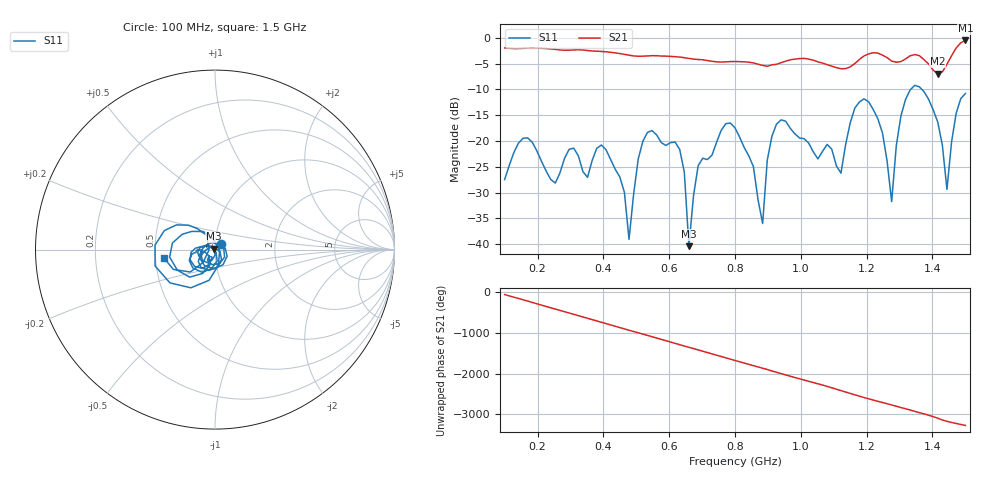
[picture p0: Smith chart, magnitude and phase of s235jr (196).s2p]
! NanoVNA-App
! Date: 2025-09-25 15:05:41
! Start: 100MHz Stop: 1,5GHz Points: 101
! S-Parameter data: F S11 S21 S12 S22
# Hz S RI R 50
!  Frequency  S11_Real  S11_Imag  S21_Real  S21_Imag  S12_Real  S12_Imag  S22_Real  S22_Imag
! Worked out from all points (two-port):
!   101 points, 100 MHz to 1.5 GHz, reference 50 ohm
!   highest |S21| = -0.52 dB at 1.5 GHz (marker M1); lowest = -7.0 dB at 1.416 GHz (marker M2)
!   |S21| within 3 dB of the highest: start of sweep to 493.1 MHz; 1.192 GHz to 1.253 GHz (60.54 MHz wide, 4.95 % of centre) (the widest 2 of 5)
!   lowest |S11| = -40.4 dB at 660 MHz (marker M3), VSWR 1.02, Z = 49.2 + j0.545 ohm
!   |S11| at or under -10 dB: start of sweep to 1.334 GHz; 1.368 GHz to end of sweep
!   S12 and S22 are empty: the file has one direction only
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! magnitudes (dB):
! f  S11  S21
! 100 MHz  -27.5  -2.0
! 156 MHz  -19.5  -2.0
! 338 MHz  -25.9  -2.4
! 408 MHz  -21.7  -2.7
! 478 MHz  -39.0  -3.4
! 520 MHz  -20.1  -3.6
! 576 MHz  -20.3  -3.5
! 632 MHz  -21.6  -3.7
! 660 MHz  -40.4  -4.0
! 688 MHz  -24.8  -4.2
! 800 MHz  -17.5  -4.6
! 884 MHz  -36.0  -5.4
! 898 MHz  -23.7  -5.5
! 926 MHz  -16.7  -5.1
! 1.038 GHz  -22.1  -4.3
! 1.122 GHz  -26.2  -6.0
! 1.206 GHz  -12.4  -3.1
! 1.276 GHz  -31.7  -4.5
! 1.332 GHz  -10.1  -3.5
! 1.416 GHz  -16.3  -7.0
! 1.444 GHz  -29.4  -5.1
! 1.5 GHz  -10.8  -0.5
